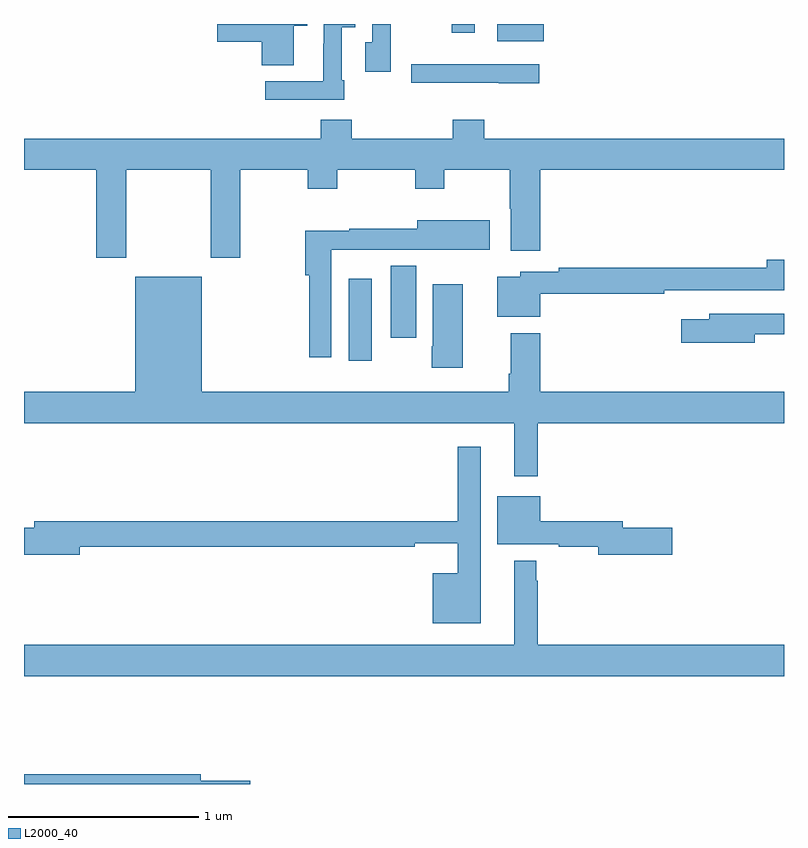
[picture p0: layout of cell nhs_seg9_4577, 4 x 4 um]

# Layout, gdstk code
import gdstk
lib = gdstk.Library(unit=1e-6, precision=1e-09)
def R(c, l, rs):  # rectangles x0, y0, x1, y1
    for r in rs: c.add(gdstk.rectangle(r[:2], r[2:], *l))
def P(c, l, *ps):  # polygons
    for p in ps: c.add(gdstk.Polygon(p, *l))
L2000_40 = (2000, 40)

nhs_seg9_4577 = lib.new_cell('nhs_seg9_4577')
R(nhs_seg9_4577, L2000_40, [(374.708,1216.728,374.83,1217.158), (374.93,1216.848,375.064,1217.228), (375.491,1218.41,375.736,1218.5), (375.251,1218.455,375.373,1218.5)])
P(nhs_seg9_4577, L2000_40, [(374.931,1218.5),(374.832,1218.5),(374.832,1218.405),(374.795,1218.405),(374.795,1218.249),(374.931,1218.249)],
  [(374.686,1218.205),(374.673,1218.205),(374.673,1218.484),(374.743,1218.484),(374.743,1218.5),(374.577,1218.5),(374.577,1218.395),(374.576,1218.395),(374.576,1218.198),(374.271,1218.198),(374.271,1218.102),(374.686,1218.102)],
  [(374.419,1218.491),(374.492,1218.491),(374.492,1218.5),(374.016,1218.5),(374.016,1218.407),(374.252,1218.407),(374.252,1218.283),(374.419,1218.283)],
  [(375.712,1218.288),(375.369,1218.288),(375.369,1218.289),(375.039,1218.289),(375.039,1218.191),(375.499,1218.191),(375.499,1218.187),(375.712,1218.187)],
  [(375.422,1217.995),(375.257,1217.995),(375.257,1217.896),(374.726,1217.896),(374.726,1217.995),(374.561,1217.995),(374.561,1217.896),(373,1217.896),(373,1217.732),(373.379,1217.732),(373.379,1217.271),(373.539,1217.271),(373.539,1217.732),(373.984,1217.732),(373.984,1217.271),(374.139,1217.271),(374.139,1217.732),(374.494,1217.732),(374.494,1217.633),(374.649,1217.633),(374.649,1217.732),(375.058,1217.732),(375.058,1217.633),(375.213,1217.633),(375.213,1217.732),(375.556,1217.732),(375.556,1217.528),(375.563,1217.528),(375.563,1217.307),(375.716,1217.307),(375.716,1217.732),(377,1217.732),(377,1217.896),(375.422,1217.896)],
  [(374.616,1217.312),(374.826,1217.312),(374.826,1217.313),(375.175,1217.313),(375.175,1217.312),(375.451,1217.312),(375.451,1217.467),(375.071,1217.467),(375.071,1217.422),(374.713,1217.422),(374.713,1217.412),(374.479,1217.412),(374.479,1217.177),(374.5,1217.177),(374.5,1216.746),(374.616,1216.746)],
  [(375.718,1217.08),(376.37,1217.08),(376.37,1217.1),(377,1217.1),(377,1217.259),(376.91,1217.259),(376.91,1217.216),(375.814,1217.216),(375.814,1217.196),(375.612,1217.196),(375.612,1217.17),(375.491,1217.17),(375.491,1216.958),(375.718,1216.958)],
  [(375.703,1216.4),(377,1216.4),(377,1216.564),(375.716,1216.564),(375.716,1216.873),(375.563,1216.873),(375.563,1216.66),(375.551,1216.66),(375.551,1216.564),(373.936,1216.564),(373.936,1217.17),(373.586,1217.17),(373.586,1216.564),(373,1216.564),(373,1216.4),(375.581,1216.4),(375.581,1216.119),(375.703,1216.119)],
  [(375.31,1217.131),(375.152,1217.131),(375.152,1216.804),(375.145,1216.804),(375.145,1216.692),(375.31,1216.692)],
  [(376.846,1216.866),(377,1216.866),(377,1216.974),(376.607,1216.974),(376.607,1216.945),(376.458,1216.945),(376.458,1216.823),(376.846,1216.823)],
  [(375.403,1216.276),(375.282,1216.276),(375.282,1215.884),(373.055,1215.884),(373.055,1215.848),(373,1215.848),(373,1215.706),(373.294,1215.706),(373.294,1215.748),(375.056,1215.748),(375.056,1215.767),(375.282,1215.767),(375.282,1215.61),(375.152,1215.61),(375.152,1215.347),(375.403,1215.347)],
  [(376.411,1215.848),(376.15,1215.848),(376.15,1215.884),(375.718,1215.884),(375.718,1216.015),(375.491,1216.015),(375.491,1215.761),(375.814,1215.761),(375.814,1215.748),(376.022,1215.748),(376.022,1215.706),(376.411,1215.706)],
  [(377,1215.232),(375.703,1215.232),(375.703,1215.569),(375.696,1215.569),(375.696,1215.676),(375.581,1215.676),(375.581,1215.232),(373,1215.232),(373,1215.068),(377,1215.068)],
  [(374.191,1214.516),(373.93,1214.516),(373.93,1214.552),(373,1214.552),(373,1214.5),(374.191,1214.5)])

lib.write_gds('nhs_seg9_4577.gds')
